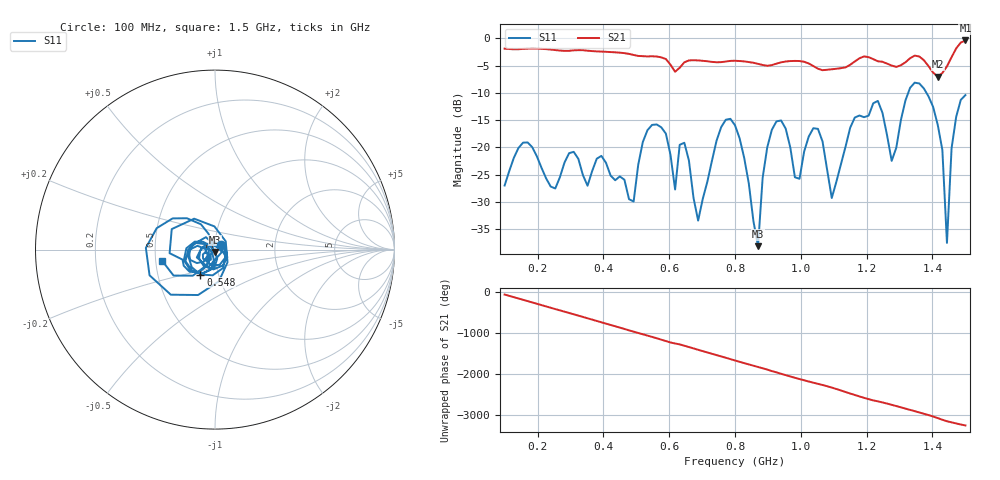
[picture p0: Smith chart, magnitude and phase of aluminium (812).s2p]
! NanoVNA-App
! Date: 2025-09-25 15:01:36
! Start: 100MHz Stop: 1,5GHz Points: 101
! S-Parameter data: F S11 S21 S12 S22
# Hz S RI R 50
!  Frequency  S11_Real  S11_Imag  S21_Real  S21_Imag  S12_Real  S12_Imag  S22_Real  S22_Imag
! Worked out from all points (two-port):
!   101 points, 100 MHz to 1.5 GHz, reference 50 ohm
!   highest |S21| = -0.42 dB at 1.5 GHz (marker M1); lowest = -7.0 dB at 1.416 GHz (marker M2)
!   |S21| within 3 dB of the highest: start of sweep to 568 MHz; 1.459 GHz to end of sweep (the widest 2 of 4)
!   lowest |S11| = -38.1 dB at 870 MHz (marker M3), VSWR 1.03, Z = 50.1 - j1.25 ohm
!   |S11| at or under -10 dB: start of sweep to 1.326 GHz; 1.382 GHz to end of sweep
!   S12 and S22 are empty: the file has one direction only
!   S11 on the Smith chart (normalised r, x): 100 MHz: 1.07, +0.06; 548 MHz: 0.82, -0.23; 1.5 GHz: 0.54, -0.07
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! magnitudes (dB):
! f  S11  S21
! 100 MHz  -27.0  -1.9
! 156 MHz  -19.1  -2.0
! 338 MHz  -25.1  -2.2
! 492 MHz  -29.9  -3.1
! 548 MHz  -15.9  -3.3
! 576 MHz  -16.3  -3.5
! 618 MHz  -27.7  -6.1
! 646 MHz  -19.1  -4.4
! 688 MHz  -33.4  -4.1
! 800 MHz  -15.9  -4.1
! 870 MHz  -38.1  -4.7
! 912 MHz  -16.8  -4.9
! 996 MHz  -25.7  -4.2
! 1.038 GHz  -16.5  -5.1
! 1.094 GHz  -29.2  -5.7
! 1.22 GHz  -11.9  -3.8
! 1.276 GHz  -22.5  -5.0
! 1.346 GHz  -8.1  -3.2
! 1.416 GHz  -15.9  -7.0
! 1.444 GHz  -37.5  -5.2
! 1.458 GHz  -20.2  -3.5
! 1.5 GHz  -10.4  -0.4
